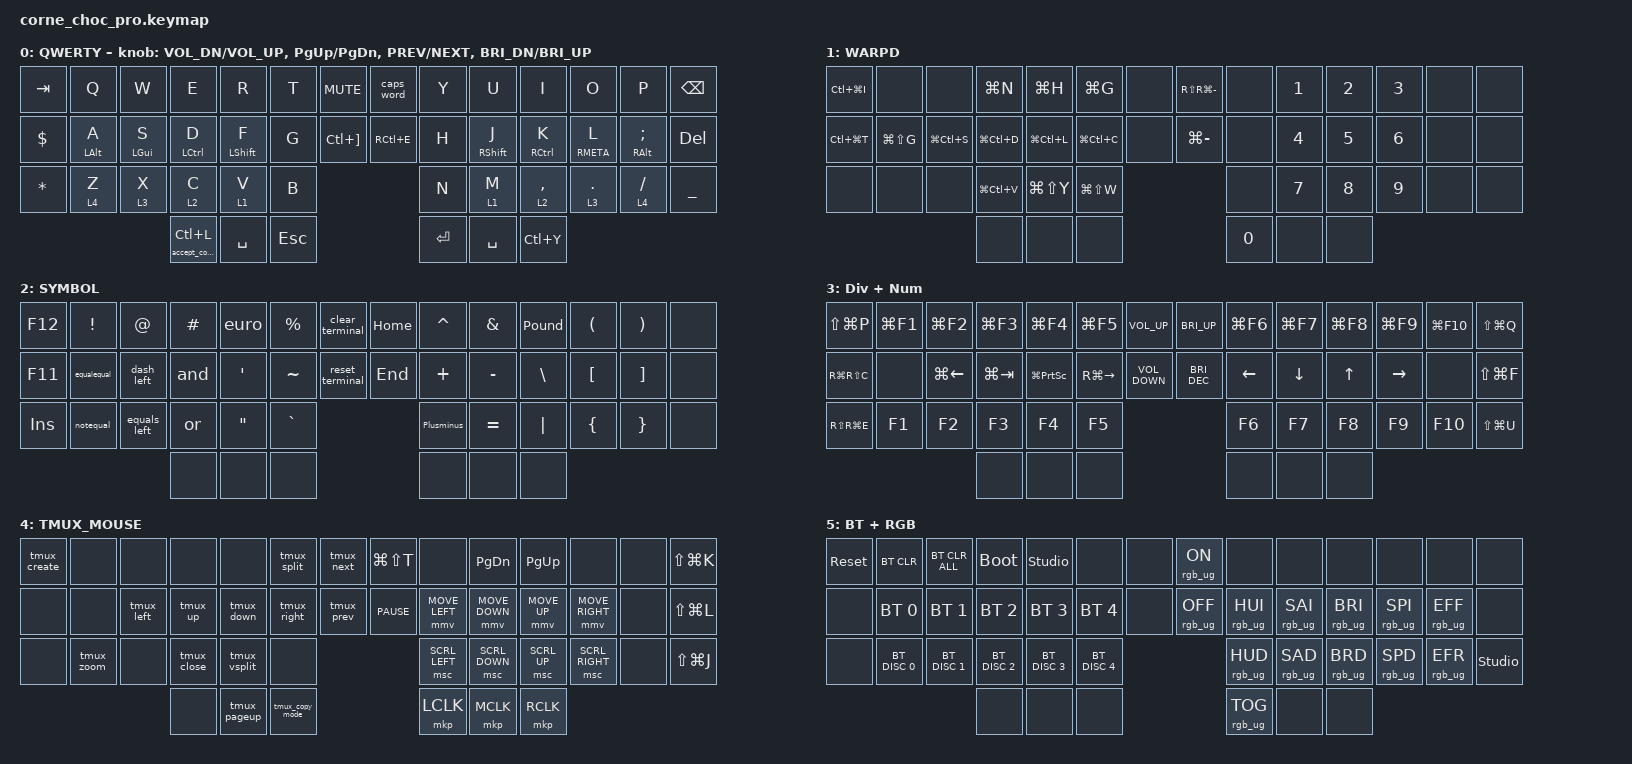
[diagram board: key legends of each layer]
/*
 * Copyright (c) 2020 The ZMK Contributors
 *
 * SPDX-License-Identifier: MIT
 */
//#define ZMK_POINTING_DEFAULT_MOVE_VAL 1500  // default: 600
//#define ZMK_POINTING_DEFAULT_SCRL_VAL 20    // default: 10

#define ZMK_POINTING_DEFAULT_MOVE_VAL 3000
#define ZMK_POINTING_DEFAULT_SCRL_VAL 100

#include <behaviors.dtsi>
#include <dt-bindings/zmk/bt.h>
#include <dt-bindings/zmk/keys.h>
#include <dt-bindings/zmk/pointing.h>
#include <dt-bindings/zmk/rgb.h>

/ {
    chosen { zmk,physical-layout = &default_layout; };
};

/ {
    macros {
        dash_left: dash_left {
            compatible = "zmk,behavior-macro";
            #binding-cells = <0>;
            bindings = <&none &kp MINUS &kp GT>;
            label = "DASH_LEFT";
        };

        equals_left: equals_left {
            compatible = "zmk,behavior-macro";
            #binding-cells = <0>;
            bindings = <&none &kp EQUAL &kp GT>;
            label = "EQUALS_LEFT";
        };

        or: or {
            compatible = "zmk,behavior-macro";
            #binding-cells = <0>;
            bindings = <&none &kp PIPE &kp PIPE>;
            label = "OR";
        };

        and: and {
            compatible = "zmk,behavior-macro";
            #binding-cells = <0>;
            bindings = <&none &kp AMPS &kp AMPS>;
            label = "AND";
        };

        equalequal: equalequal {
            compatible = "zmk,behavior-macro";
            #binding-cells = <0>;
            bindings = <&none &kp EQUAL &kp EQUAL>;
            label = "EQUALEQUAL";
        };

        notequal: notequal {
            compatible = "zmk,behavior-macro";
            #binding-cells = <0>;
            bindings = <&none &kp EXCL &kp EQUAL>;
            label = "NOTEQUAL";
        };

        euro: euro {
            compatible = "zmk,behavior-macro";
            #binding-cells = <0>;
            bindings = <&none>;
            label = "EURO";
        };

        Pound: Pound {
            compatible = "zmk,behavior-macro";
            #binding-cells = <0>;
            bindings = <&none>;
            label = "POUND";
        };

        Plusminus: Plusminus {
            compatible = "zmk,behavior-macro";
            #binding-cells = <0>;
            bindings = <&none>;
            label = "PLUSMINUS";
        };

        clear_terminal: clear_terminal {
            compatible = "zmk,behavior-macro";
            #binding-cells = <0>;
            bindings = <&none &kp LC(U) &kp C &kp L &kp E &kp A &kp R &kp RET>;
            label = "CLEAR_TERMINAL";
        };

        accept_copilot: accept_copilot {
            compatible = "zmk,behavior-macro";
            #binding-cells = <0>;
            bindings = <&none &kp LC(J) &kp LC(E)>;
            label = "ACCEPT_COPILOT";
            wait-ms = <100>;
            tap-ms = <50>;
        };

        tmux_down: tmux_down {
            compatible = "zmk,behavior-macro";
            #binding-cells = <0>;
            bindings = <&none &kp LC(B) &kp DOWN_ARROW>;
            label = "TMUX_DOWN";
        };

        tmux_up: tmux_up {
            compatible = "zmk,behavior-macro";
            #binding-cells = <0>;
            bindings = <&none &kp LC(B) &kp UP_ARROW>;
            label = "TMUX_UP";
        };

        tmux_left: tmux_left {
            compatible = "zmk,behavior-macro";
            #binding-cells = <0>;
            bindings = <&none &kp LC(B) &kp LEFT_ARROW>;
            label = "TMUX_LEFT";
        };

        tmux_right: tmux_right {
            compatible = "zmk,behavior-macro";
            #binding-cells = <0>;
            bindings = <&none &kp LC(B) &kp RIGHT_ARROW>;
            label = "TMUX_RIGHT";
        };

        tmux_vsplit: tmux_vsplit {
            compatible = "zmk,behavior-macro";
            #binding-cells = <0>;
            bindings = <&none &kp LC(B) &kp DQT>;
            label = "TMUX_VSPLIT";
        };

        tmux_split: tmux_split {
            compatible = "zmk,behavior-macro";
            #binding-cells = <0>;
            bindings = <&none &kp LC(B) &kp PRCNT>;
            label = "TMUX_SPLIT";
        };

        tmux_zoom: tmux_zoom {
            compatible = "zmk,behavior-macro";
            #binding-cells = <0>;
            bindings = <&none &kp LC(B) &kp Z>;
            label = "TMUX_ZOOM";
        };

        tmux_close: tmux_close {
            compatible = "zmk,behavior-macro";
            #binding-cells = <0>;
            bindings = <&none &kp LC(B) &kp AMPS>;
            label = "TMUX_CLOSE";
        };

        tmux_copy_mode: tmux_copy_mode {
            compatible = "zmk,behavior-macro";
            #binding-cells = <0>;
            bindings = <&none &kp LC(B) &kp LBKT>;
            label = "TMUX_COPY_MODE";
        };

        tmux_pageup: tmux_pageup {
            compatible = "zmk,behavior-macro";
            #binding-cells = <0>;
            bindings = <&none &kp LC(B) &kp PAGE_UP>;
            label = "TMUX_PAGEUP";
        };

        tmux_create: tmux_create {
            compatible = "zmk,behavior-macro";
            #binding-cells = <0>;
            bindings = <&none &kp LC(B) &kp C>;
            label = "TMUX_CREATE";
        };

        tmux_next: tmux_next {
            compatible = "zmk,behavior-macro";
            #binding-cells = <0>;
            bindings = <&none &kp LC(B) &kp N>;
            label = "TMUX_NEXT";
        };

        tmux_prev: tmux_prev {
            compatible = "zmk,behavior-macro";
            #binding-cells = <0>;
            bindings = <&none &kp LC(B) &kp P>;
            label = "TMUX_PREV";
        };

        reset_terminal: reset_terminal {
            compatible = "zmk,behavior-macro";
            #binding-cells = <0>;
            bindings = <&none &kp RET &kp TILDE &kp DOT>;
            label = "RESET_TERMINAL";
            wait-ms = <100>;
            tap-ms = <50>;
        };
    };

    combos {
        compatible = "zmk,combos";

        BT_RGB_Layer_Toggle {
            bindings = <&tog 5>;
            key-positions = <6 7>;
        };

        arrow_left {
            bindings = <&kp LEFT_ARROW>;
            key-positions = <29 28>;
        };

        arrow_right {
            bindings = <&kp RIGHT_ARROW>;
            key-positions = <39 38>;
        };

        arrow_up {
            bindings = <&kp UP_ARROW>;
            key-positions = <27 13>;
        };

        arrow_down {
            bindings = <&kp DOWN_ARROW>;
            key-positions = <27 39>;
        };
    };

    behaviors {
        lshift_hrm: lshift_hrm {
            compatible = "zmk,behavior-hold-tap";
            label = "LSHIFT_HRM";
            bindings = <&kp>, <&kp>;

            #binding-cells = <2>;
            tapping-term-ms = <200>;
            require-prior-idle-ms = <150>;
            quick-tap-ms = <175>;
            flavor = "balanced";
            hold-trigger-on-release;
            hold-trigger-key-positions = <8 9 10 11 12 13 22 23 24 25 26 27 34 35 36 37 38 39 44 45 43 21 7>;
        };

        rshift_hrm: rshift_hrm {
            compatible = "zmk,behavior-hold-tap";
            label = "RSHIFT_HRM";
            bindings = <&kp>, <&kp>;

            #binding-cells = <2>;
            tapping-term-ms = <200>;
            require-prior-idle-ms = <150>;
            quick-tap-ms = <175>;
            flavor = "balanced";
            hold-trigger-on-release;
            hold-trigger-key-positions = <0 1 2 3 4 5 14 15 16 17 18 19 20 28 29 30 31 32 33 40 41 42 6>;
        };

        lctrl_hrm: lctrl_hrm {
            compatible = "zmk,behavior-hold-tap";
            label = "LCTRL_HRM";
            bindings = <&kp>, <&kp>;

            #binding-cells = <2>;
            tapping-term-ms = <250>;
            require-prior-idle-ms = <150>;
            quick-tap-ms = <175>;
            flavor = "balanced";
            hold-trigger-on-release;
            hold-trigger-key-positions = <8 9 10 11 12 13 22 23 24 25 26 27 34 35 36 37 38 39 44 45 43 21 7>;
        };

        lalt_hrm: lalt_hrm {
            compatible = "zmk,behavior-hold-tap";
            label = "LALT_HRM";
            bindings = <&kp>, <&kp>;

            #binding-cells = <2>;
            tapping-term-ms = <250>;
            require-prior-idle-ms = <150>;
            quick-tap-ms = <175>;
            flavor = "balanced";
            hold-trigger-on-release;
            hold-trigger-key-positions = <8 9 10 11 12 13 22 23 24 25 26 27 34 35 36 37 38 39 44 45 43 21 7>;
        };

        lgui_hrm: lgui_hrm {
            compatible = "zmk,behavior-hold-tap";
            label = "LGUI_HRM";
            bindings = <&kp>, <&kp>;

            #binding-cells = <2>;
            tapping-term-ms = <250>;
            require-prior-idle-ms = <150>;
            quick-tap-ms = <175>;
            flavor = "balanced";
            hold-trigger-on-release;
            hold-trigger-key-positions = <8 9 10 11 12 13 22 23 24 25 26 27 34 35 36 37 38 39 44 45 43 21 7>;
        };

        rctrl_hrm: rctrl_hrm {
            compatible = "zmk,behavior-hold-tap";
            label = "RCTRL_HRM";
            bindings = <&kp>, <&kp>;

            #binding-cells = <2>;
            tapping-term-ms = <250>;
            require-prior-idle-ms = <150>;
            quick-tap-ms = <175>;
            flavor = "balanced";
            hold-trigger-on-release;
            hold-trigger-key-positions = <0 1 2 3 4 5 14 15 16 17 18 19 20 28 29 30 31 32 33 40 41 42 6>;
        };

        ralt_hrm: ralt_hrm {
            compatible = "zmk,behavior-hold-tap";
            label = "RALT_HRM";
            bindings = <&kp>, <&kp>;

            #binding-cells = <2>;
            tapping-term-ms = <250>;
            require-prior-idle-ms = <150>;
            quick-tap-ms = <175>;
            flavor = "balanced";
            hold-trigger-on-release;
            hold-trigger-key-positions = <0 1 2 3 4 5 14 15 16 17 18 19 20 28 29 30 31 32 33 40 41 42 6>;
        };

        rgui_hrm: rgui_hrm {
            compatible = "zmk,behavior-hold-tap";
            label = "RGUI_HRM";
            bindings = <&kp>, <&kp>;

            #binding-cells = <2>;
            tapping-term-ms = <250>;
            require-prior-idle-ms = <150>;
            quick-tap-ms = <175>;
            flavor = "balanced";
            hold-trigger-on-release;
            hold-trigger-key-positions = <0 1 2 3 4 5 14 15 16 17 18 19 20 28 29 30 31 32 33 40 41 42 6>;
        };

        copilot_hold_tap: copilot_hold_tap {
            compatible = "zmk,behavior-hold-tap";
            label = "COPILOT_HOLD_TAP";
            bindings = <&accept_copilot>, <&kp>;

            #binding-cells = <2>;
            flavor = "balanced";
            tapping-term-ms = <200>;
        };
    };

    keymap {
        compatible = "zmk,keymap";

        default_layer {
            display-name = "QWERTY";

            // --------------------------------------------------------------------------------
            // |  TAB |  Q  |  W  |  E  |  R  |  T  |  MUTE |  PP   |  Y  |  U   |  I  |  O  |  P  | BSPC |
            // | CTRL |  A  |  S  |  D  |  F  |  G  |  LALT |  RALT |  H  |  J   |  K  |  L  |  ;  |  '   |
            // | SHFT |  Z  |  X  |  C  |  V  |  B  |               |  N  |  M   |  ,  |  .  |  /  | ESC  |
            //                    | GUI | LWR | SPC |               | ENT | RSE  | ALT |

            bindings = <
&kp TAB     &kp Q                 &kp W                 &kp E                      &kp R                     &kp T       &kp C_MUTE             &caps_word  &kp Y    &kp U                      &kp I               &kp O              &kp P                     &kp BSPC
&kp DOLLAR  &lalt_hrm LEFT_ALT A  &lgui_hrm LEFT_GUI S  &lctrl_hrm LCTRL D         &lshift_hrm LEFT_SHIFT F  &kp G       &kp LC(RIGHT_BRACKET)  &kp RC(E)   &kp H    &rshift_hrm RIGHT_SHIFT J  &rctrl_hrm RCTRL K  &rgui_hrm RMETA L  &ralt_hrm RIGHT_ALT SEMI  &kp DELETE
&kp STAR    &lt 4 Z               &lt 3 X               &lt 2 C                    &lt 1 V                   &kp B                                          &kp N    &lt 1 M                    &lt 2 COMMA         &lt 3 DOT          &lt 4 SLASH               &kp UNDER
                                                        &copilot_hold_tap 0 LC(L)  &kp SPACE                 &kp ESCAPE                                     &kp RET  &kp SPACE                  &kp LC(Y)
            >;

            sensor-bindings = <&inc_dec_kp C_VOL_DN C_VOL_UP &inc_dec_kp PG_UP PG_DN &inc_dec_kp C_PREV C_NEXT &inc_dec_kp C_BRI_DN C_BRI_UP>;
        };

        WARPD-NUM {
            display-name = "WARPD";

            // -----------------------------------------------------------------------------------------
            // Warpd & Copy Functions Layer
            // LEFT: Warpd navigation and copy/paste functions (shifted right, leftmost column empty)
            // RIGHT: Numbers (unchanged)

            bindings = <
&kp LC(LG(I))  &none          &none          &kp LG(N)      &kp LG(H)      &kp LG(G)      &none  &kp RS(RG(MINUS))  &none   &kp NUMBER_1  &kp NUMBER_2  &kp NUMBER_3  &none  &none
&kp LC(LG(T))  &kp LG(LS(G))  &kp LG(LC(S))  &kp LG(LC(D))  &kp LG(LC(L))  &kp LG(LC(C))  &none  &kp LG(MINUS)      &none   &kp NUMBER_4  &kp N5        &kp NUMBER_6  &none  &none
&none          &none          &none          &kp LG(LC(V))  &kp LG(LS(Y))  &kp LG(LS(W))                            &none   &kp N7        &kp N8        &kp N9        &none  &none
                                             &none          &none          &none                                    &kp N0  &none         &none
            >;
        };

        SYMBOL {
            display-name = "SYMBOL";

            // -----------------------------------------------------------------------------------------
            // |  TAB |  !  |  @  |  #  |  $  |  %  | LCTRL | RCTRL |  ^  |  &  |  *  |  (  |  )  | BSPC |
            // | CTRL |     |     |     |     |     |  LALT | RALT  |  -  |  =  |  [  |  ]  |  \  |  `   |
            // | SHFT |     |     |     |     |     |               |  _  |  +  |  {  |  }  | "|" |  ~   |
            //                    | GUI |     | SPC |               | ENT |     | ALT |

            bindings = <
&kp F12     &kp EXCL     &kp AT        &kp HASH  &euro              &kp PRCNT  &clear_terminal  &kp HOME  &kp CARET   &kp AMPS   &Pound         &kp LPAR          &kp RPAR           &none
&kp F11     &equalequal  &dash_left    &and      &kp SINGLE_QUOTE   &kp TILDE  &reset_terminal  &kp END   &kp PLUS    &kp MINUS  &kp BACKSLASH  &kp LEFT_BRACKET  &kp RIGHT_BRACKET  &none
&kp INSERT  &notequal    &equals_left  &or       &kp DOUBLE_QUOTES  &kp GRAVE                             &Plusminus  &kp EQUAL  &kp PIPE       &kp LEFT_BRACE    &kp RIGHT_BRACE    &none
                                       &none     &none              &none                                 &none       &none      &none
            >;
        };

        FUNCTION {
            display-name = "Div + Num";
            bindings = <
&kp LS(LG(P))  &kp LG(F1)  &kp LG(F2)          &kp LG(F3)   &kp LG(F4)           &kp LG(F5)           &kp K_VOLUME_UP    &kp C_BRI_UP   &kp LG(F6)  &kp LG(F7)  &kp LG(F8)  &kp LG(F9)  &kp LG(F10)  &kp LS(LG(Q))
&kp RG(RS(C))  &none       &kp LG(LEFT_ARROW)  &kp LG(TAB)  &kp LG(PRINTSCREEN)  &kp RG(RIGHT_ARROW)  &kp K_VOLUME_DOWN  &kp C_BRI_DEC  &kp LEFT_ARROW  &kp DOWN_ARROW  &kp UP_ARROW  &kp RIGHT_ARROW  &none    &kp LS(LG(F))
&kp RS(RG(E))  &kp F1      &kp F2              &kp F3       &kp F4               &kp F5                                                 &kp F6          &kp F7          &kp F8        &kp F9           &kp F10  &kp LS(LG(U))
                                               &none        &none                &none                                                  &none           &none           &none
            >;
        };

        TMUX_MOUSE {
            display-name = "TMUX_MOUSE";
            bindings = <
&tmux_create  &none       &none       &none        &none         &tmux_split      &tmux_next  &kp LG(LS(T))  &none           &kp PAGE_DOWN   &kp PG_UP     &none            &none  &kp LS(LG(K))
&none         &none       &tmux_left  &tmux_up     &tmux_down    &tmux_right      &tmux_prev  &kp C_PAUSE    &mmv MOVE_LEFT  &mmv MOVE_DOWN  &mmv MOVE_UP  &mmv MOVE_RIGHT  &none  &kp LS(LG(L))
&none         &tmux_zoom  &none       &tmux_close  &tmux_vsplit  &none                                       &msc SCRL_LEFT  &msc SCRL_DOWN  &msc SCRL_UP  &msc SCRL_RIGHT  &none  &kp LS(LG(J))
                                      &none        &tmux_pageup  &tmux_copy_mode                             &mkp LCLK       &mkp MCLK       &mkp RCLK
            >;
        };

        BT_Layer {
            display-name = "BT + RGB";
            bindings = <
&sys_reset  &bt BT_CLR     &bt BT_CLR_ALL  &bootloader    &studio_unlock  &none          &none  &rgb_ug RGB_ON   &none            &none            &none            &none            &none            &none
&none       &bt BT_SEL 0   &bt BT_SEL 1    &bt BT_SEL 2   &bt BT_SEL 3    &bt BT_SEL 4   &none  &rgb_ug RGB_OFF  &rgb_ug RGB_HUI  &rgb_ug RGB_SAI  &rgb_ug RGB_BRI  &rgb_ug RGB_SPI  &rgb_ug RGB_EFF  &none
&none       &bt BT_DISC 0  &bt BT_DISC 1   &bt BT_DISC 2  &bt BT_DISC 3   &bt BT_DISC 4                          &rgb_ug RGB_HUD  &rgb_ug RGB_SAD  &rgb_ug RGB_BRD  &rgb_ug RGB_SPD  &rgb_ug RGB_EFR  &studio_unlock
                                           &none          &none           &none                                  &rgb_ug RGB_TOG  &none            &none
            >;
        };
    };
};
